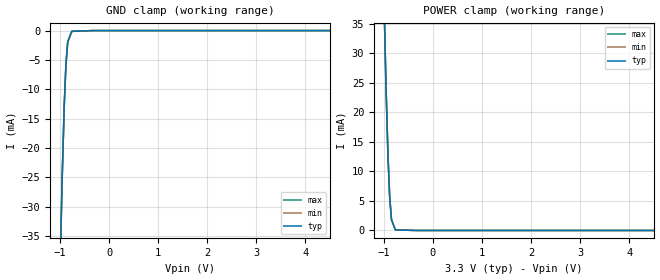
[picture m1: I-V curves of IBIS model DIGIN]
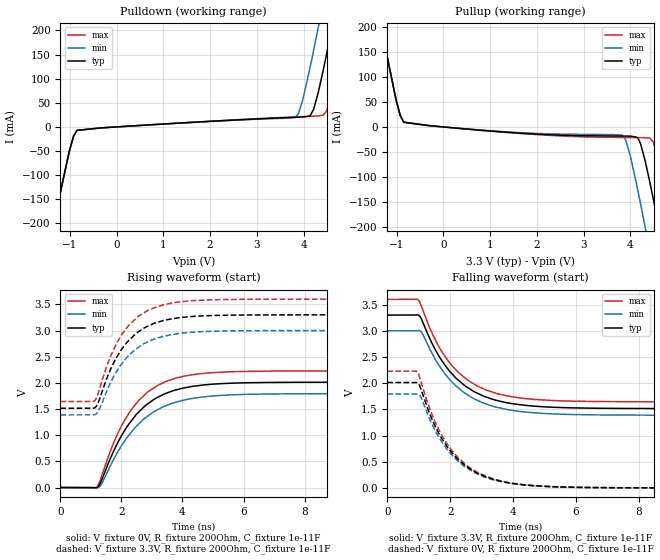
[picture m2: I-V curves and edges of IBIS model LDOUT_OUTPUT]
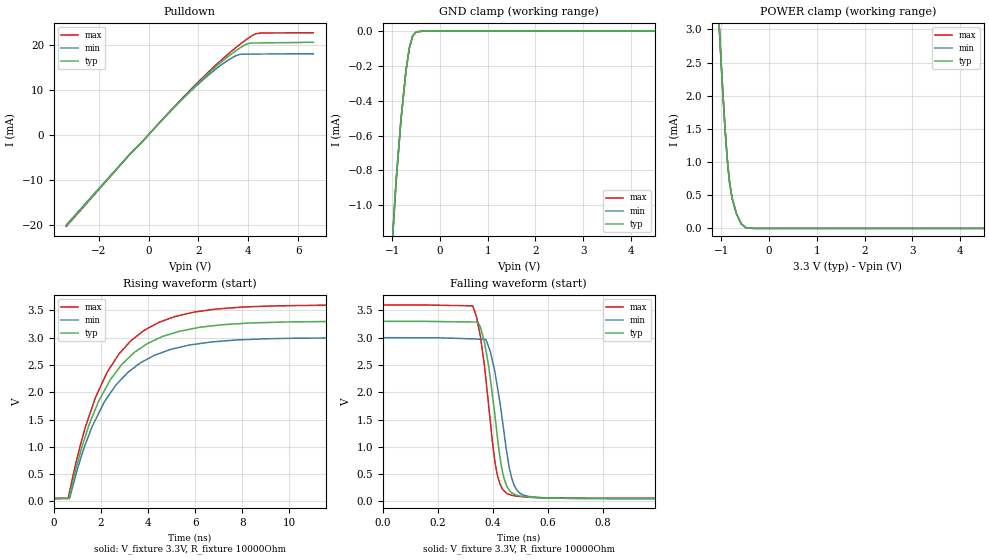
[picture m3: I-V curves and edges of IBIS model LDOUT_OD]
|max2870 IBIS Model
[IBIS Ver]   4.2
[File name]   max2870.ibs
[Date]   12/20/2016
[File Rev]   1.0
[Source]   Maxim Integrated
[Notes]   Initial model file
[Disclaimer]  Maxim Integrated Products, Inc. ("Maxim") hereby grants the user of this IBIS model ("User")
              a non-exclusive, nontransferable license to use this IBIS model under the following terms:
              1)Before  using  this  IBIS model, the User should read this license. If the User does not
                accept these terms, the IBIS model should not be used by the User;
              2)The User is granted this  license  only to  use the IBIS model and is not granted rights
                to sell, load, rent, lease or license the IBIS model in whole or in part, or in modified
                form to anyone other than User;
              3)User may  modify  the  IBIS  model  to  suit  its  specific  applications, but rights to
                derivative works and such modifications shall belong to Maxim;
              4)This  IBIS model  is  provided  on  an "AS IS"  basis  and  Maxim  makes  absolutely  no
                warranty with respect to the information contained herein;
              5)MAXIMINTEGRATED DISCLAIMS AND USER WAIVES ALL  WARRANTIES, EXPRESS OR IMPLIED, INCLUDING
                WARRANTIES OF MERCHANTABILITY AND FITNESS FOR A PARTICULAR PURPOSE;
              6)The entire risk as to quality and performance is with the User.
                ACCORDINGLY, IN NO EVENT SHALL MAXIM BE LIABLE FOR ANY DAMAGES,WHETHER IN CONTRACT OR TORT,
                INCLUDING  ANY  LOST PROFITS  OR  OTHER  INCIDENTAL,CONSEQUENTIAL, EXEMPLARY,OR PUNITIVE
                DAMAGES ARISING OUT OF THE USE OR APPLICATION OF THE IBIS model provided in this package;
              7)Further, Maxim  reserves  the  right  to make changes without notice to any product herein
                to improve reliability, function, or design;
              8)Maxim  does  not  convey  any  license  under  patent  rights  or  any  other  intellectual
                property rights, including those of third parties; and
              9)Maxim is not obligated to provide maintenance or support for the licensed IBIS model.
[Copyright]   (c) 2016 Maxim Integrated Products, Inc. All rights reserved.
|COMPONENT: max2870
[Component]   MAX2870ETJ+
[Manufacturer]  Maxim Integrated
[Package]
|   typ   min   max
R_pkg   0.0698   0.049   0.082
L_pkg   1.083nH   0.620nH   1.365nH
C_pkg   0.113pF   0.112pF   0.116pF
[Pin]   signal_name   model_name   R_pin   L_pin   C_pin
1   CLK   DIGIN   0.082   1.365nH   0.116pF
2   DATA   DIGIN   0.075   1.227nH   0.113pF
3   LE   DIGIN   0.069   1.115nH   0.112pF
4   CE   DIGIN   0.067   1.078nH   0.112pF
5   SW   NC   0.069   1.112nH   0.112pF
6   VCC_CP   POWER   0.070   1.119nH   0.113pF
7   CP_OUT   NC   0.074   1.197nH   0.113pF
8   GND_CP   GND   0.081   1.304nH   0.116pF
9   GND_PLL   GND   0.080   1.317nH   0.116pF
10   VCC_PLL   POWER   0.054   0.729nH   0.113pF
11   GND_RF   GND   0.076   1.139nH   0.112pF
12   RFOUTA_P   NC   0.076   1.150nH   0.112pF
13   RFOUTA_N   NC   0.054   0.718nH   0.112pF
14   RFOUTB_P   NC   0.075   1.223nH   0.112pF
15   RFOUTB_N   GND   0.070   1.070nH   0.113pF
16   VCC_RF   POWER   0.070   1.069nH   0.116pF
17   VCC_VCO   POWER   0.069   1.035nH   0.116pF
18   GND_VCO   GND   0.069   1.036nH   0.113pF
19   NOISE_FILT   NC   0.053   0.703nH   0.113pF
20   TUNE   NC   0.070   1.058nH   0.113pF
21   GND_TUNE   GND   0.070   1.056nH   0.112pF
22   RSET   NC   0.074   1.129nH   0.113pF
23   BIAS_FILT   NC   0.074   1.125nH   0.113pF
24   REG   NC   0.082   1.361nH   0.116pF
25   LD   LD   0.080   1.295nH   0.113pF
26   RFOUT_EN   DIGIN   0.075   1.219nH   0.112pF
27   GND_DIG   GND   0.051   0.665nH   0.112pF
28   VCC_DIG   POWER   0.070   1.114nH   0.112pF
29   REF_IN   NC   0.068   1.091nH   0.113pF
30   MUX_OUT   MUX   0.068   1.092nH   0.113pF
31   GND_SD   GND   0.049   0.620nH   0.113pF
32   VCC_SD   POWER   0.071   1.131nH   0.115pF
33   EP   GND   0.075   0.075nH   0.000pF
|   Model Selectors
[Model Selector] LD
LDOUT_OUTPUT   3.3V  digital output
LDOUT_OD   3.3V  digital open_drain
LDOUT_OD_NF   3.3V  digital open_drain
[Model Selector] MUX
MUX_INPUT   3.3V  digital input
MUX_OUTPUT   3.3V  digital output
MUX_OD   3.3V  digital open_drain
MUX_OD_NF   3.3V  digital open_drain
| Models and submodels in the file (8): DIGIN (Input), LDOUT_OUTPUT (Output), LDOUT_OD (Open_drain), LDOUT_OD_NF (Open_drain), MUX_INPUT (Input), MUX_OUTPUT (Output), MUX_OD (Open_drain), MUX_OD_NF (Open_drain)
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|   DIGIN Model
[Model]   DIGIN
Model_type   Input
Vinl = 0.4
Vinh = 1.5
|   typ   min   max
|C_comp values with magnitude order
C_comp   3.383e-13   3.371e-13   3.404e-13
|C_comp values with real corner order
|C_comp   3.383e-13   3.404e-13   3.371e-13
|C_comp (ON state)   3.383e-13   3.404e-13   3.371e-13
|C_comp (OFF state)   3.383e-13   3.404e-13   3.371e-13
[Voltage Range]   3.3   3   3.6
[Temperature Range]   27   110   -40
[Power Clamp Reference]   3.3   3   3.6
[GND Clamp Reference]   0   0   0
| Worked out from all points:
|   GND clamp passes 1 mA (typ) near -0.80 V on its own axis
|   POWER clamp passes 1 mA (typ) near -0.81 V on its own axis
[GND Clamp]
|   Voltage   I(typ)   I(min)   I(max)
-3.3V     -1.166A    -1.166A    -1.166A
-1.007V   -43.05mA   -43.17mA   -42.92mA
-960.3mV  -26.08mA   -26.18mA   -25.96mA
-956.4mV  -24.78mA   -24.88mA   -24.66mA
-916.8mV  -13.13mA   -13.21mA   -13.04mA
-880.8mV  -5.812mA   -5.863mA   -5.752mA
-846mV    -2.095mA   -2.115mA   -2.066mA
-843mV    -1.903mA   -1.921mA   -1.877mA
-759mV    -126.7uA   -128.1uA   -123.6uA
-330mV    -111.6pA   -126.5pA   -43.13pA
6.6V      0A         0A         0A
[POWER Clamp]
|   Voltage   I(typ)   I(min)   I(max)
-3.3V     1.165A     1.165A     1.165A
-1.007V   42.9mA     43.02mA    42.77mA
-960.3mV  25.94mA    26.05mA    25.83mA
-956.4mV  24.65mA    24.75mA    24.53mA
-916.8mV  13.01mA    13.09mA    12.92mA
-880.8mV  5.697mA    5.748mA    5.637mA
-846mV    1.995mA    2.014mA    1.966mA
-843mV    1.805mA    1.823mA    1.779mA
-762mV    94.06uA    95.49uA    91.01uA
6.6V      0A         0A         0A
|   LDOUT_OUTPUT Model
[Model]   LDOUT_OUTPUT
Model_type   Output
Polarity   Non-Inverting
Vmeas = 1.65
Vref = 0
Cref = 10pF
Rref = 10000
|   typ   min   max
|C_comp values with magnitude order
|C_comp   1.022e-13   1.022e-13   1.023e-13
|C_comp values with real corner order
C_comp   1.022e-13   1.022e-13   1.023e-13
|C_comp (ON state)   1.022e-13   1.022e-13   1.023e-13
|C_comp (OFF state)   1.023e-13   1.022e-13   1.023e-13
[Voltage Range]   3.3   3   3.6
[Temperature Range]   27   110   -40
[Pullup Reference]   3.3   3   3.6
[Pulldown Reference]   0   0   0
[Power Clamp Reference]   3.3   3   3.6
[GND Clamp Reference]   0   0   0
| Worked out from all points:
|   slope of the pulldown table from 0 to 0.495 V, typ, clamps not added: 165 ohm
|   slope of the pullup table from 0 to 0.495 V, typ, clamps not added: 120 ohm
|   falling waveform, V_fixture 3.3V, R_fixture 200Ohm, C_fixture 1e-11F: 20-80 % time 1.39ns typ, 1.4ns min, 1.37ns max; typ from 3.3 V to 1.51 V
|   rising waveform, V_fixture 0V, R_fixture 200Ohm, C_fixture 1e-11F: 20-80 % time 1.36ns typ, 1.44ns min, 1.3ns max; typ from 0 V to 2.01 V
|   rising waveform, V_fixture 3.3V, R_fixture 200Ohm, C_fixture 1e-11F: 20-80 % time 1.09ns typ, 1.13ns min, 1.08ns max; typ from 1.51 V to 3.3 V
|   falling waveform, V_fixture 0V, R_fixture 200Ohm, C_fixture 1e-11F: 20-80 % time 1.31ns typ, 1.32ns min, 1.3ns max; typ from 2.01 V to 0 V
[Pulldown]
|   Voltage   I(typ)   I(min)   I(max)
-3.3V     -1.185A    -1.185A    -1.185A
-1.644V   -349.4mA   -349.5mA   -349.4mA
-1.244V   -154.8mA   -154.8mA   -154.7mA
-1.008V   -49.53mA   -49.59mA   -49.45mA
-844.8mV  -7.102mA   -7.074mA   -7.112mA
3.816V    19.87mA    19.47mA    20.78mA
4.143V    23.45mA    124.5mA    22.08mA
4.317V    72.03mA    206.8mA    22.85mA
4.415V    114.5mA    254.3mA    24.17mA
4.564V    184.1mA    327.7mA    53.98mA
4.944V    370.5mA    517.7mA    225.5mA
6.597V    1.208A     1.36A      1.058A
[Pullup]
|   Voltage   I(typ)   I(min)   I(max)
-3.3V     1.203A     1.203A     1.203A
-1.291V   180.6mA    180.4mA    180.7mA
-1.014V   54.58mA    54.45mA    54.65mA
-846mV    9.38mA     9.193mA    9.524mA
3.819V    -18.19mA   -16.33mA   -21.05mA
3.996V    -18.3mA    -56.59mA   -21.19mA
4.161V    -22.36mA   -127.3mA   -21.31mA
4.32V     -69.1mA    -201.3mA   -21.44mA
4.487V    -142.3mA   -281.6mA   -29.45mA
4.597V    -193.7mA   -335.2mA   -63.34mA
4.965V    -371.7mA   -517.7mA   -229.4mA
6.597V    -1.195A    -1.346A    -1.044A
[Ramp]
R_load = 200
|   typ   min   max
dV/dt_r 1.2077E+00/1.3613E-09   1.0763E+00/1.4366E-09   1.3372E+00/1.3010E-09
dV/dt_f 1.0713E+00/1.3902E-09   9.6754E-01/1.3996E-09   1.1743E+00/1.3722E-09
[Falling Waveform]
V_fixture = 3.3V
V_fixture_min = 3V
V_fixture_max = 3.6V
R_fixture = 200Ohm
C_fixture = 1e-11F
|   Time   V(typ)   V(min)   V(max)
0s        3.3V       3V         3.6V
981.5ps   3.302V     3.005V     3.592V
1.113ns   3.188V     2.949V     3.42V
1.541ns   2.621V     2.44V      2.807V
2.031ns   2.195V     2.039V     2.352V
2.482ns   1.943V     1.803V     2.094V
2.866ns   1.807V     1.671V     1.944V
3.766ns   1.631V     1.502V     1.762V
6.166ns   1.525V     1.398V     1.653V
15ns      1.514V     1.387V     1.643V
[Rising Waveform]
V_fixture = 0V
V_fixture_min = 0V
V_fixture_max = 0V
R_fixture = 200Ohm
C_fixture = 1e-11F
|   Time   V(typ)   V(min)   V(max)
0s        1.659nV    1.572nV    1.558nV
1.186ns   -3.107mV   -6.283mV   7.506mV
1.352ns   144.8mV    73.65mV    221.4mV
1.857ns   833.1mV    658.7mV    1.007V
2.266ns   1.229V     1.017V     1.442V
2.866ns   1.601V     1.367V     1.828V
3.766ns   1.861V     1.628V     2.088V
4.536ns   1.949V     1.722V     2.171V
6.036ns   2.001V     1.78V      2.219V
15ns      2.013V     1.794V     2.229V
[Rising Waveform]
V_fixture = 3.3V
V_fixture_min = 3V
V_fixture_max = 3.6V
R_fixture = 200Ohm
C_fixture = 1e-11F
|   Time   V(typ)   V(min)   V(max)
0s        1.514V     1.387V     1.643V
1.121ns   1.523V     1.392V     1.657V
1.275ns   1.68V      1.494V     1.872V
1.618ns   2.226V     1.974V     2.473V
2.031ns   2.66V      2.381V     2.941V
2.566ns   2.979V     2.682V     3.277V
3.036ns   3.128V     2.83V      3.425V
3.466ns   3.203V     2.901V     3.504V
5.436ns   3.293V     2.992V     3.593V
15ns      3.3V       3V         3.6V
[Falling Waveform]
|Gnd
V_fixture = 0V
V_fixture_min = 0V
V_fixture_max = 0V
R_fixture = 200Ohm
C_fixture = 1e-11F
|   Time   V(typ)   V(min)   V(max)
0s        2.013V     1.794V     2.229V
942.7ps   2.013V     1.795V     2.222V
1.058ns   1.905V     1.747V     2.052V
1.483ns   1.227V     1.141V     1.312V
2.031ns   687.1mV    641.8mV    729.4mV
2.566ns   388.8mV    366mV      409.3mV
3.466ns   147.5mV    139.7mV    154.6mV
4.366ns   56.14mV    53.47mV    58.57mV
5.866ns   11.41mV    10.96mV    11.84mV
15ns      17.9uV     16.41uV    19.4uV
|   LDOUT_OD Model
[Model]   LDOUT_OD
Model_type   Open_drain
Polarity   Non-Inverting
Vmeas = 1.65
Vref = 3.3
Cref = 10pF
Rref = 10000
|   typ   min   max
|C_comp values with magnitude order
C_comp   3.842e-15   3.842e-15   3.842e-15
|C_comp values with real corner order
|C_comp   3.842e-15   3.842e-15   3.842e-15
|C_comp (ON state)   3.842e-15   3.842e-15   3.842e-15
|C_comp (OFF state)   3.844e-15   3.843e-15   3.844e-15
[Voltage Range]   3.3   3   3.6
[Temperature Range]   27   110   -40
[Pullup Reference]   3.3   3   3.6
[Pulldown Reference]   0   0   0
[Power Clamp Reference]   3.3   3   3.6
[GND Clamp Reference]   0   0   0
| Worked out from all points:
|   slope of the pulldown table from 0 to 0.495 V, typ, clamps not added: 165 ohm
|   GND clamp passes 1 mA (typ) near -0.95 V on its own axis
|   POWER clamp passes 1 mA (typ) near -0.87 V on its own axis
|   falling waveform, V_fixture 3.3V, R_fixture 10000Ohm: 20-80 % time 50.4ps typ, 52.9ps min, 48.3ps max; typ from 3.3 V to 0.053 V
|   rising waveform, V_fixture 3.3V, R_fixture 10000Ohm: 20-80 % time 2.22ns typ, 2.24ns min, 2.19ns max; typ from 0.053 V to 3.3 V
[Pulldown]
|   Voltage   I(typ)   I(min)   I(max)
-3.3V     -20.26mA   -20.05mA   -20.41mA
-723mV    -4.15mA    -4.105mA   -4.183mA
-330mV    -2.002mA   -1.983mA   -2.016mA
999mV     6.004mA    5.909mA    6.074mA
2.082V    12.04mA    11.73mA    12.26mA
2.99V     16.54mA    15.85mA    17mA
3.375V    18.21mA    17.23mA    18.84mA
3.623V    19.18mA    17.84mA    19.95mA
3.986V    20.27mA    17.96mA    21.46mA
4.31V     20.42mA    17.96mA    22.5mA
4.448V    20.43mA    17.97mA    22.66mA
6.6V      20.58mA    18.01mA    22.68mA
[GND Clamp]
|   Voltage   I(typ)   I(min)   I(max)
-3.3V     -17.18mA   -17.18mA   -17.18mA
-1.005V   -1.225mA   -1.227mA   -1.224mA
-924mV    -870uA     -871.2uA   -868.8uA
-823.2mV  -518.9uA   -519.8uA   -517.9uA
-715.2mV  -228.2uA   -228.9uA   -227.5uA
-643.5mV  -96.29uA   -96.73uA   -95.88uA
-578.4mV  -30.9uA    -31.09uA   -30.7uA
-498mV    -4.841uA   -4.876uA   -4.807uA
-312mV    -20.63nA   -20.8nA    -20.4nA
6.6V      0A         0A         0A
[POWER Clamp]
|   Voltage   I(typ)   I(min)   I(max)
-3.3V     37.76mA    37.77mA    37.76mA
-1.082V   3.525mA    3.53mA     3.521mA
-990mV    2.286mA    2.29mA     2.282mA
-927.3mV  1.535mA    1.538mA    1.531mA
-877.8mV  1.042mA    1.045mA    1.039mA
-826.8mV  677.3uA    679uA      675.5uA
-774mV    448.9uA    449.9uA    447.9uA
-686.4mV  224.6uA    225.3uA    224uA
-585.6mV  69.49uA    69.79uA    69.16uA
-492mV    11.8uA     11.87uA    11.71uA
-297.6mV  48.29nA    48.77nA    47.76nA
6.6V      0A         0A         0A
[Ramp]
R_load = 10000
|   typ   min   max
dV/dt_r 1.9483E+00/2.2232E-09   1.7708E+00/2.2443E-09   2.1256E+00/2.1904E-09
dV/dt_f 1.9483E+00/5.0429E-11   1.7708E+00/5.2864E-11   2.1256E+00/4.8263E-11
[Falling Waveform]
V_fixture = 3.3V
V_fixture_min = 3V
V_fixture_max = 3.6V
R_fixture = 10000Ohm
|   Time   V(typ)   V(min)   V(max)
0s        3.3V       3V         3.6V
326.8ps   3.288V     2.978V     3.584V
346.1ps   3.287V     2.974V     3.242V
369.1ps   2.926V     2.97V      2.501V
408.7ps   1.53V      2.336V     688.5mV
434.3ps   563.2mV    1.497V     231.4mV
459.2ps   204.7mV    628.7mV    127.7mV
487.5ps   111.2mV    204.7mV    94.08mV
682.8ps   55.46mV    52.92mV    58.83mV
150ns     52.9mV     48.6mV     57.27mV
[Rising Waveform]
V_fixture = 3.3V
V_fixture_min = 3V
V_fixture_max = 3.6V
R_fixture = 10000Ohm
|   Time   V(typ)   V(min)   V(max)
0s        52.9mV     48.6mV     57.27mV
612ps     54.02mV    49.67mV    59.42mV
675.6ps   122.4mV    62.43mV    189.3mV
1.105ns   864mV      739.2mV    998.6mV
1.77ns    1.695V     1.498V     1.907V
2.398ns   2.23V      1.984V     2.457V
3.27ns    2.669V     2.407V     2.944V
5.144ns   3.093V     2.804V     3.388V
8.032ns   3.261V     2.963V     3.562V
150ns     3.3V       3V         3.6V
